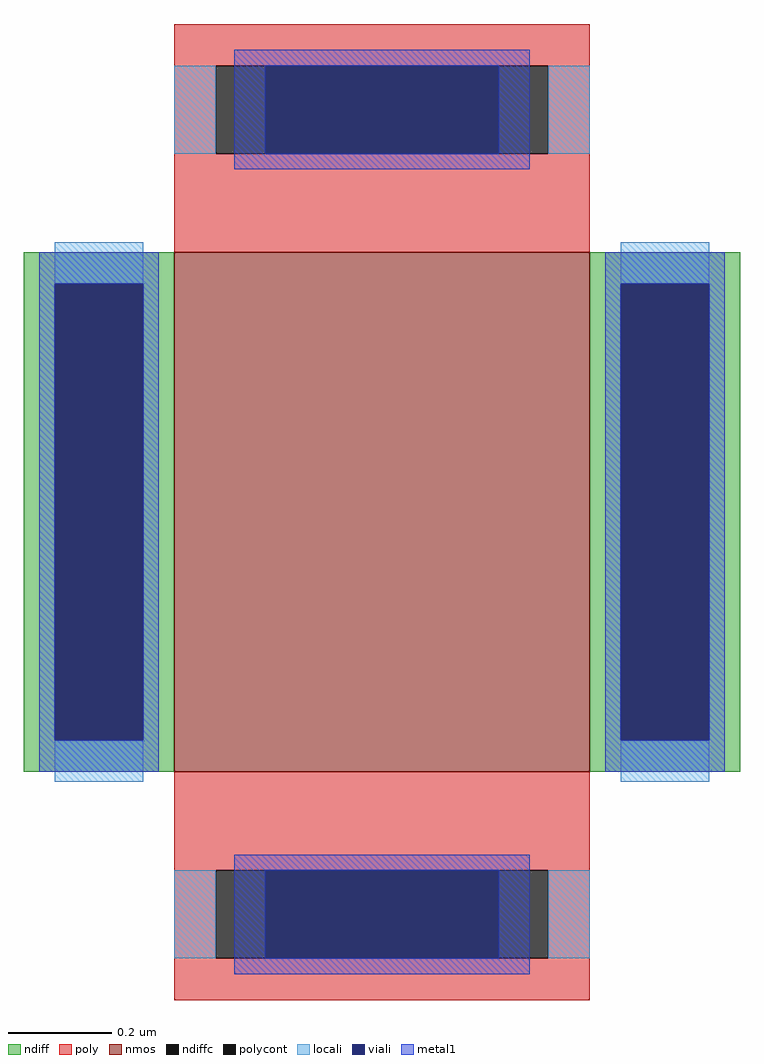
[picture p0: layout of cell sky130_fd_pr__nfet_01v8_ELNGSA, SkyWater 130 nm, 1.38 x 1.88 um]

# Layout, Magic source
magic
tech sky130A
magscale 1 2
<< nmos >>
rect -80 -100 80 100
<< ndiff >>
rect -138 88 -80 100
rect -138 -88 -126 88
rect -92 -88 -80 88
rect -138 -100 -80 -88
rect 80 88 138 100
rect 80 -88 92 88
rect 126 -88 138 88
rect 80 -100 138 -88
<< ndiffc >>
rect -126 -88 -92 88
rect 92 -88 126 88
<< poly >>
rect -80 172 80 188
rect -80 138 -64 172
rect 64 138 80 172
rect -80 100 80 138
rect -80 -138 80 -100
rect -80 -172 -64 -138
rect 64 -172 80 -138
rect -80 -188 80 -172
<< polycont >>
rect -64 138 64 172
rect -64 -172 64 -138
<< locali >>
rect -80 138 -64 172
rect 64 138 80 172
rect -126 88 -92 104
rect -126 -104 -92 -88
rect 92 88 126 104
rect 92 -104 126 -88
rect -80 -172 -64 -138
rect 64 -172 80 -138
<< viali >>
rect -45 138 45 172
rect -126 -88 -92 88
rect 92 -88 126 88
rect -45 -172 45 -138
<< metal1 >>
rect -57 172 57 178
rect -57 138 -45 172
rect 45 138 57 172
rect -57 132 57 138
rect -132 88 -86 100
rect -132 -88 -126 88
rect -92 -88 -86 88
rect -132 -100 -86 -88
rect 86 88 132 100
rect 86 -88 92 88
rect 126 -88 132 88
rect 86 -100 132 -88
rect -57 -138 57 -132
rect -57 -172 -45 -138
rect 45 -172 57 -138
rect -57 -178 57 -172
<< properties >>
string gencell sky130_fd_pr__nfet_01v8
string library sky130
string parameters w 1 l 0.8 m 1 nf 1 diffcov 100 polycov 100 guard 0 glc 1 grc 1 gtc 1 gbc 1 tbcov 100 rlcov 100 topc 1 botc 1 poverlap 0 doverlap 1 lmin 0.15 wmin 0.42 compatible {sky130_fd_pr__nfet_01v8 sky130_fd_pr__nfet_01v8_lvt  sky130_fd_bs_flash__special_sonosfet_star  sky130_fd_pr__nfet_g5v0d10v5 sky130_fd_pr__nfet_05v0_nvt  sky130_fd_pr__nfet_03v3_nvt} full_metal 1 viasrc 100 viadrn 100 viagate 70 viagb 0 viagr 0 viagl 0 viagt 0
<< end >>
